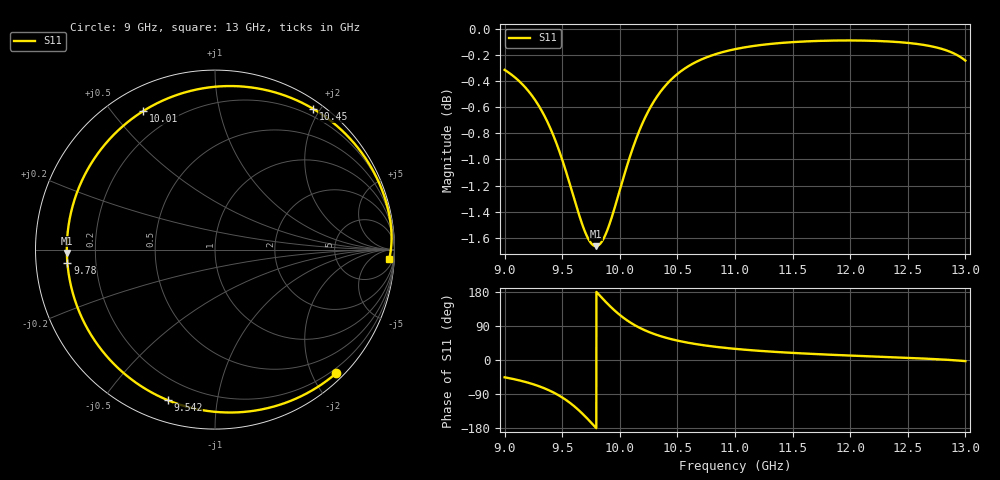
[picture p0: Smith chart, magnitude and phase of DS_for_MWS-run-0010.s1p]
! TOUCHSTONE file generated by CST DESIGN STUDIO
! Date and time: Tue Feb  4 18:13:33 2025
! Project name: C:\Work\MatlabApps\UnitCellOptimizationMatlab\CST\unitcell.cst
! Tree item: Tasks\Sweep1\SPara1\S-Parameters
! Header version: 2024
! Port assignment regex: !\s*Touchstone port\s*([0-9]+)\s*=\s*(CST MWS port|CST DES external port|CST DES block port)\s*(.+)\s* \(\"(.*)\"\)(\s*mode\s*([0-9]+))?.*
! Touchstone port assignment:
! Touchstone port 1 = CST DES external port 1 ("")
# GHz S MA R 50
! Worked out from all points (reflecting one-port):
!   4001 points, 9 GHz to 13 GHz, reference 50 ohm
!   lowest |S11| = -1.7 dB at 9.792 GHz (marker M1), VSWR 10.47, Z = 4.78 - j0.574 ohm
!   phase of S11 starts at -46 deg and turns -317 deg over the sweep
!   S11 on the Smith chart (normalised r, x): 9 GHz: 0.12, -2.37; 9.542 GHz: 0.10, -0.73; 9.78 GHz: 0.10, -0.05; 10.01 GHz: 0.10, +0.60; 10.45 GHz: 0.10, +1.91; 13 GHz: 16, -30
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9  0.9645 -45.7
9.143  0.9534 -54.9
9.274  0.9379 -66.5
9.388  0.918 -80.3
9.448  0.9045 -89.5
9.5  0.8911 -98.8
9.542  0.8793 -107.4
9.6  0.8621 -120.9
9.656  0.8462 -135.9
9.722  0.8317 -155.9
9.78  0.8259 -174.7
9.792  0.8257 -178.7
9.836  0.8281 166.8
9.882  0.8354 152.1
9.942  0.8502 134.2
10  0.8675 118.9
10.006  0.8693 117.5
10.081  0.8916 100.9
10.169  0.9141 85.4
10.299  0.9386 68.5
10.445  0.9563 55.2
10.5  0.961 51.2
10.717  0.9738 39.4
11  0.9823 29.4
11.5  0.9884 18.7
12  0.9899 11.7
12.5  0.9877 5.6
13  0.9725 -3.0
